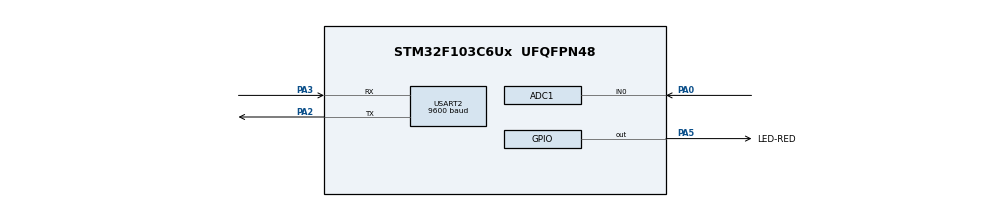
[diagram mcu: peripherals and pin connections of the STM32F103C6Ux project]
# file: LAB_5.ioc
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ADC1.Channel-4\#ChannelRegularConversion=ADC_CHANNEL_0
ADC1.ContinuousConvMode=ENABLE
ADC1.NbrOfConversionFlag=1
ADC1.Rank-4\#ChannelRegularConversion=1
ADC1.SamplingTime-4\#ChannelRegularConversion=ADC_SAMPLETIME_1CYCLE_5
ADC1.master=1
Mcu.Family=STM32F1
Mcu.Name=STM32F103C6Ux
Mcu.Package=UFQFPN48
NVIC.PriorityGroup=NVIC_PRIORITYGROUP_4
NVIC.TIM2_IRQn=true\:0\:0\:false\:false\:true\:true\:true
NVIC.USART2_IRQn=true\:0\:0\:false\:false\:true\:true\:true
PA0-WKUP.Signal=ADCx_IN0
PA2.Mode=Asynchronous
PA2.Signal=USART2_TX
PA3.Mode=Asynchronous
PA3.Signal=USART2_RX
PA5.GPIO_Label=LED-RED
PA5.Signal=GPIO_Output
ProjectManager.HeapSize=0x200
ProjectManager.StackSize=0x400
ProjectManager.TargetToolchain=STM32CubeIDE
RCC.APB1Freq_Value=8000000
RCC.APB2Freq_Value=8000000
SH.ADCx_IN0.0=ADC1_IN0,IN0
TIM2.Period=9
TIM2.Prescaler=7999
USART2.BaudRate=9600
USART2.VirtualMode=VM_ASYNC
VP_SYS_VS_ND.Mode=No_Debug
VP_TIM2_VS_ClockSourceINT.Mode=Internal
board=custom

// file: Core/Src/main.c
/* USER CODE BEGIN Header */
/**
  ******************************************************************************
  * @file           : main.c
  * @brief          : Main program body
  ******************************************************************************
  * @attention
  *
  * <h2><center>&copy; Copyright (c) 2025 STMicroelectronics.
  * All rights reserved.</center></h2>
  *
  * This software component is licensed by ST under BSD 3-Clause license,
  * the "License"; You may not use this file except in compliance with the
  * License. You may obtain a copy of the License at:
  *                        opensource.org/licenses/BSD-3-Clause
  *
  ******************************************************************************
  */
/* USER CODE END Header */
#include "main.h"

/* USER CODE BEGIN Includes */
#include "command_parser_fsm.h"
#include "global.h"
#include "uart_communication_fsm.h"
#include "software_timer.h"
#include <stdio.h>
/* USER CODE END Includes */

ADC_HandleTypeDef hadc1;

TIM_HandleTypeDef htim2;

UART_HandleTypeDef huart2;

void SystemClock_Config(void);
static void MX_GPIO_Init(void);
static void MX_ADC1_Init(void);
static void MX_TIM2_Init(void);
static void MX_USART2_UART_Init(void);

/* USER CODE BEGIN 0 */
void HAL_UART_RxCpltCallback(UART_HandleTypeDef * huart) {
	if (huart->Instance == USART2) {
		HAL_UART_Transmit(&huart2, &temp, 1, 100);
		buffer[index_buffer++] = temp;
		//HAL_GPIO_TogglePin(LED_RED_GPIO_Port, LED_RED_Pin);
		if (index_buffer == MAX_BUFFER_SIZE)
			index_buffer = 0;
		buffer_flag = 1;
		HAL_UART_Receive_IT(&huart2, &temp, 1);
	}
}
/* USER CODE END 0 */

int main(void)
{

  /* MCU Configuration--------------------------------------------------------*/

  /* Reset of all peripherals, Initializes the Flash interface and the Systick. */
  HAL_Init();

  /* Configure the system clock */
  SystemClock_Config();

  /* Initialize all configured peripherals */
  MX_GPIO_Init();
  MX_ADC1_Init();
  MX_TIM2_Init();
  MX_USART2_UART_Init();
  /* USER CODE BEGIN 2 */
  HAL_TIM_Base_Start_IT(&htim2);
  HAL_ADC_Start(&hadc1);
  HAL_UART_Receive_IT(&huart2, &temp, 1);
  /* USER CODE END 2 */

  /* Infinite loop */
  /* USER CODE BEGIN WHILE */
  	//uint32_t ADC_value = 0;
  while (1)
  {
	  /*HAL_GPIO_TogglePin(LED_RED_GPIO_Port, LED_RED_Pin);
	  ADC_value = HAL_ADC_GetValue(&hadc1);
	  HAL_UART_Transmit(&huart2, (void *)str, sprintf(str, "%d\n", ADC_value), 1000);
	  HAL_Delay(500);*/

	  if(buffer_flag == 1){
	  	command_parser_fsm();
	  	buffer_flag = 0;
	  }
	  uart_communication_fsm();
    /* USER CODE END WHILE */

  }
}

void SystemClock_Config(void)
{
  RCC_OscInitTypeDef RCC_OscInitStruct = {0};
  RCC_ClkInitTypeDef RCC_ClkInitStruct = {0};
  RCC_PeriphCLKInitTypeDef PeriphClkInit = {0};

  /** Initializes the RCC Oscillators according to the specified parameters
  * in the RCC_OscInitTypeDef structure.
  */
  RCC_OscInitStruct.OscillatorType = RCC_OSCILLATORTYPE_HSI;
  RCC_OscInitStruct.HSIState = RCC_HSI_ON;
  RCC_OscInitStruct.HSICalibrationValue = RCC_HSICALIBRATION_DEFAULT;
  RCC_OscInitStruct.PLL.PLLState = RCC_PLL_NONE;
  if (HAL_RCC_OscConfig(&RCC_OscInitStruct) != HAL_OK)
  {
    Error_Handler();
  }
  /** Initializes the CPU, AHB and APB buses clocks
  */
  RCC_ClkInitStruct.ClockType = RCC_CLOCKTYPE_HCLK|RCC_CLOCKTYPE_SYSCLK
                              |RCC_CLOCKTYPE_PCLK1|RCC_CLOCKTYPE_PCLK2;
  RCC_ClkInitStruct.SYSCLKSource = RCC_SYSCLKSOURCE_HSI;
  RCC_ClkInitStruct.AHBCLKDivider = RCC_SYSCLK_DIV1;
  RCC_ClkInitStruct.APB1CLKDivider = RCC_HCLK_DIV1;
  RCC_ClkInitStruct.APB2CLKDivider = RCC_HCLK_DIV1;

  if (HAL_RCC_ClockConfig(&RCC_ClkInitStruct, FLASH_LATENCY_0) != HAL_OK)
  {
    Error_Handler();
  }
  PeriphClkInit.PeriphClockSelection = RCC_PERIPHCLK_ADC;
  PeriphClkInit.AdcClockSelection = RCC_ADCPCLK2_DIV2;
  if (HAL_RCCEx_PeriphCLKConfig(&PeriphClkInit) != HAL_OK)
  {
    Error_Handler();
  }
}

static void MX_ADC1_Init(void)
{

  ADC_ChannelConfTypeDef sConfig = {0};

  /** Common config
  */
  hadc1.Instance = ADC1;
  hadc1.Init.ScanConvMode = ADC_SCAN_DISABLE;
  hadc1.Init.ContinuousConvMode = ENABLE;
  hadc1.Init.DiscontinuousConvMode = DISABLE;
  hadc1.Init.ExternalTrigConv = ADC_SOFTWARE_START;
  hadc1.Init.DataAlign = ADC_DATAALIGN_RIGHT;
  hadc1.Init.NbrOfConversion = 1;
  if (HAL_ADC_Init(&hadc1) != HAL_OK)
  {
    Error_Handler();
  }
  /** Configure Regular Channel
  */
  sConfig.Channel = ADC_CHANNEL_0;
  sConfig.Rank = ADC_REGULAR_RANK_1;
  sConfig.SamplingTime = ADC_SAMPLETIME_1CYCLE_5;
  if (HAL_ADC_ConfigChannel(&hadc1, &sConfig) != HAL_OK)
  {
    Error_Handler();
  }

}

static void MX_TIM2_Init(void)
{

  TIM_ClockConfigTypeDef sClockSourceConfig = {0};
  TIM_MasterConfigTypeDef sMasterConfig = {0};

  htim2.Instance = TIM2;
  htim2.Init.Prescaler = 7999;
  htim2.Init.CounterMode = TIM_COUNTERMODE_UP;
  htim2.Init.Period = 9;
  htim2.Init.ClockDivision = TIM_CLOCKDIVISION_DIV1;
  htim2.Init.AutoReloadPreload = TIM_AUTORELOAD_PRELOAD_DISABLE;
  if (HAL_TIM_Base_Init(&htim2) != HAL_OK)
  {
    Error_Handler();
  }
  sClockSourceConfig.ClockSource = TIM_CLOCKSOURCE_INTERNAL;
  if (HAL_TIM_ConfigClockSource(&htim2, &sClockSourceConfig) != HAL_OK)
  {
    Error_Handler();
  }
  sMasterConfig.MasterOutputTrigger = TIM_TRGO_RESET;
  sMasterConfig.MasterSlaveMode = TIM_MASTERSLAVEMODE_DISABLE;
  if (HAL_TIMEx_MasterConfigSynchronization(&htim2, &sMasterConfig) != HAL_OK)
  {
    Error_Handler();
  }

}

static void MX_USART2_UART_Init(void)
{

  huart2.Instance = USART2;
  huart2.Init.BaudRate = 9600;
  huart2.Init.WordLength = UART_WORDLENGTH_8B;
  huart2.Init.StopBits = UART_STOPBITS_1;
  huart2.Init.Parity = UART_PARITY_NONE;
  huart2.Init.Mode = UART_MODE_TX_RX;
  huart2.Init.HwFlowCtl = UART_HWCONTROL_NONE;
  huart2.Init.OverSampling = UART_OVERSAMPLING_16;
  if (HAL_UART_Init(&huart2) != HAL_OK)
  {
    Error_Handler();
  }

}

static void MX_GPIO_Init(void)
{
  GPIO_InitTypeDef GPIO_InitStruct = {0};

  /* GPIO Ports Clock Enable */
  __HAL_RCC_GPIOA_CLK_ENABLE();

  /*Configure GPIO pin Output Level */
  HAL_GPIO_WritePin(LED_RED_GPIO_Port, LED_RED_Pin, GPIO_PIN_RESET);

  /*Configure GPIO pin : LED_RED_Pin */
  GPIO_InitStruct.Pin = LED_RED_Pin;
  GPIO_InitStruct.Mode = GPIO_MODE_OUTPUT_PP;
  GPIO_InitStruct.Pull = GPIO_NOPULL;
  GPIO_InitStruct.Speed = GPIO_SPEED_FREQ_LOW;
  HAL_GPIO_Init(LED_RED_GPIO_Port, &GPIO_InitStruct);

}

/* USER CODE BEGIN 4 */
void HAL_TIM_PeriodElapsedCallback(TIM_HandleTypeDef * htim)
{
	timerun();
}
/* USER CODE END 4 */

void Error_Handler(void)
{
  __disable_irq();
  while (1)
  {
  }
}

/************************ (C) COPYRIGHT STMicroelectronics *****END OF FILE****/
